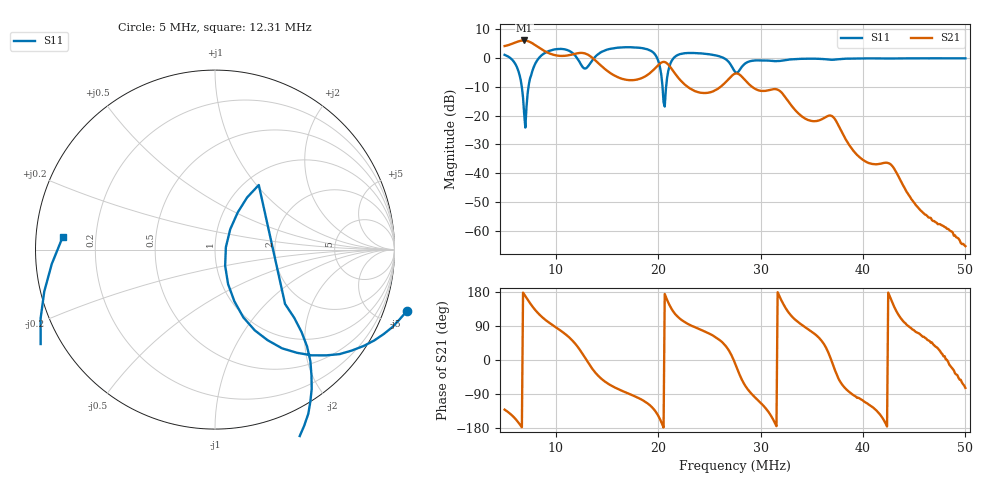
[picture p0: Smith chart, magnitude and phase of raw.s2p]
! S11/S21 only; reverse parameters are placeholders. Device calibration unverified.
! NanoVNA F V2 profile | COM3 | 2026-09-08T11:28:04.9653839-04:00 | device calibration unverified
# HZ S RI R 50
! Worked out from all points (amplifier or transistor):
!   401 points, 5 MHz to 50 MHz, reference 50 ohm
!   highest |S21| = 6.0 dB at 6.912 MHz (marker M1)
!   |S21| within 3 dB of that: start of sweep to 8.592 MHz
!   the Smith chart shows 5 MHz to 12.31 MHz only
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5000000  1.07 -0.3416  -1.046 -1.204  0 0  0 0
6125000  0.4573 -0.5751  -1.718 -0.7108  0 0  0 0
6912500  0.0566 -0.0899  -1.979 0.2311  0 0  0 0
7250000  0.1265 0.2068  -1.819 0.6884  0 0  0 0
8037500  0.5314 -0.6216  -1.06 1.246  0 0  0 0
1.04e7  -0.2342 -1.403  0.208 1.058  0 0  0 0
1.175e7  -0.9521 -0.6604  0.7811 0.8535  0 0  0 0
1.25375e7  -0.6388 0.3459  1.146 0.401  0 0  0 0
1.3775e7  0.903 0.4416  0.7989 -0.4725  0 0  0 0
1.50125e7  1.355 -0.2839  0.289 -0.5212  0 0  0 0
1.8275e7  1.02 -1.074  -0.0984 -0.425  0 0  0 0
2.0075e7  0.0467 -0.8062  -0.6688 -0.3739  0 0  0 0
2.0525e7  0.037 -0.165  -0.8479 -0.026  0 0  0 0
2.0975e7  0.5583 0.1705  -0.6757 0.3575  0 0  0 0
2.22125e7  1.138 -0.2496  -0.1171 0.383  0 0  0 0
2.60375e7  0.7885 -0.6929  0.1907 0.243  0 0  0 0
2.75e7  0.4327 -0.3732  0.5243 -0.0785  0 0  0 0
2.84e7  0.7441 -0.2046  0.1904 -0.3808  0 0  0 0
3.1325e7  0.7383 -0.4734  -0.2736 -0.0878  0 0  0 0
3.50375e7  0.6922 -0.6684  0.0223 0.0772  0 0  0 0
4.2575e7  0.4356 -0.8677  -0.0146 0.00245  0 0  0 0
5e7  0.1596 -0.9637  0.000154 -0.000526  0 0  0 0
